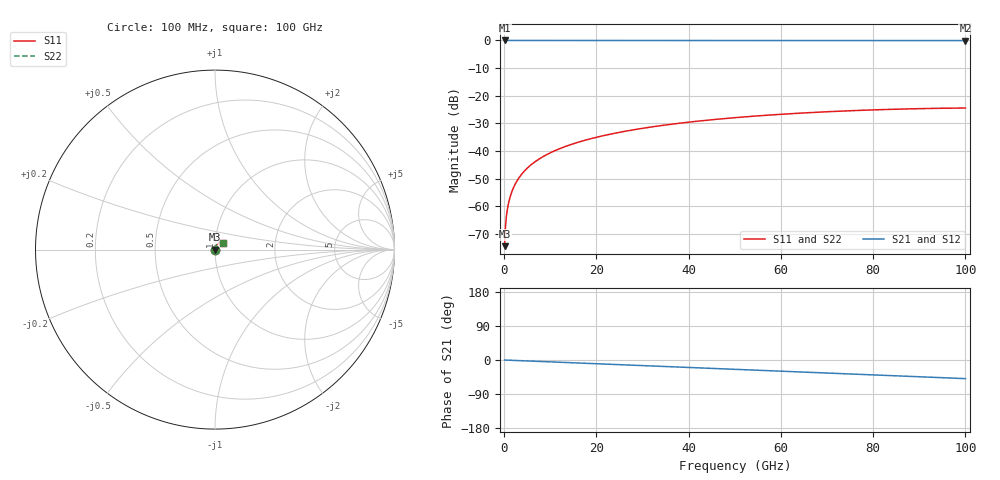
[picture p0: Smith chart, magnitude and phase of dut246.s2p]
! Touchstone file exported from HFSS 2026.1.0
!  File:  C:/ffzhzh/LocalFiles/Ansys_Project_Files/temp_train_TSV_246_1783508245_55944.aedt
!  Generated:  06:58:39 PM Jul  8, 2026
!  Design:  TSV
!  Project:  temp_train_TSV_246_1783508245_55944
! Variables:
!  h_bsmrdl = 2um
!  h_ox = 20um
!  h_rdl = 5um
!  h_sub = 99.2um
!  h_tmrdl = 5um
!  h_tsv = 99.2um
!  h_via = 3um
!  l_bsmrdl = 300um
!  l_sub = 422um
!  l_tmrdl = 200um
!  m_sub = 200um
!  pitch = 50.1um
!  r_tsv = 11um
!  s_tmrdl = 10um
!  w_bsmrdl = 18um
!  w_sub = 500um
!  w_tmrdl = 12um
!  x_tsv_center1 = 206um
!  x_tsv_center2 = 524um
!  x_tsv_center3 = 736um
!  x_tsv_center4 = 1054um
!  x_tsv_center5 = 1266um
!  x_tsv_center6 = 1584um
# GHz S MA R 50.000000
! Terminal data exported
! Port[1] = TSV1_1_T1
! Port[2] = TSV1_1_T2
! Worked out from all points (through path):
!   1000 points, 100 MHz to 100 GHz, reference 50 ohm
!   highest |S21| = 0.00 dB at 100 MHz (marker M1); lowest = 0.0 dB at 100 GHz (marker M2)
!   group delay of S21, straight-line fit = 1.36 ps
!   lowest |S11| = -74.5 dB at 100 MHz (marker M3), VSWR 1.00, Z = 50 + j0.0138 ohm
!   |S11| at or under -10 dB: start of sweep to end of sweep
!   |S22| runs from -74.5 to -24.5 dB; largest |S21 - S12| = 4.5e-15
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0.1  0.0001883 47.0  0.9999 -0.1  0.9999 -0.1  0.0001883 47.0
! Gamma 0 0 0 0
! Port Impedance 50 0 50 0
0.4  0.0005503 69.6  0.9998 -0.2  0.9998 -0.2  0.0005503 69.6
0.7  0.000878 72.3  0.9997 -0.4  0.9997 -0.4  0.000878 72.3
0.8  0.0009798 72.9  0.9997 -0.4  0.9997 -0.4  0.0009798 72.9
1  0.001178 73.9  0.9997 -0.5  0.9997 -0.5  0.001178 73.9
1.3  0.001468 75.2  0.9996 -0.7  0.9996 -0.7  0.001468 75.2
1.8  0.001945 76.6  0.9996 -0.9  0.9996 -0.9  0.001945 76.6
2.4  0.002507 77.7  0.9995 -1.2  0.9995 -1.2  0.002507 77.7
3.1  0.003152 78.4  0.9994 -1.5  0.9994 -1.5  0.003152 78.4
3.9  0.003877 78.8  0.9994 -1.9  0.9994 -1.9  0.003877 78.8
4.9  0.00477 79.2  0.9993 -2.4  0.9993 -2.4  0.00477 79.2
6.1  0.005831 79.3  0.9992 -3.0  0.9992 -3.0  0.005831 79.3
8.9  0.008277 79.1  0.999 -4.4  0.999 -4.4  0.008277 79.1
12.4  0.01128 78.2  0.9988 -6.1  0.9988 -6.1  0.01129 78.1
16.8  0.01499 76.7  0.9986 -8.3  0.9986 -8.3  0.01499 76.7
24.2  0.02105 73.9  0.9982 -11.9  0.9982 -11.9  0.02105 73.8
33.4  0.02825 69.9  0.9978 -16.4  0.9978 -16.4  0.02825 69.9
41.3  0.03406 66.4  0.9974 -20.3  0.9974 -20.3  0.03406 66.4
50.1  0.04002 62.3  0.9969 -24.6  0.9969 -24.6  0.04002 62.3
66.7  0.04957 54.5  0.9961 -32.7  0.9961 -32.7  0.04957 54.5
83.4  0.05643 46.5  0.9954 -41.0  0.9954 -41.0  0.05643 46.5
100  0.05978 38.6  0.9947 -49.1  0.9947 -49.1  0.05979 38.5
